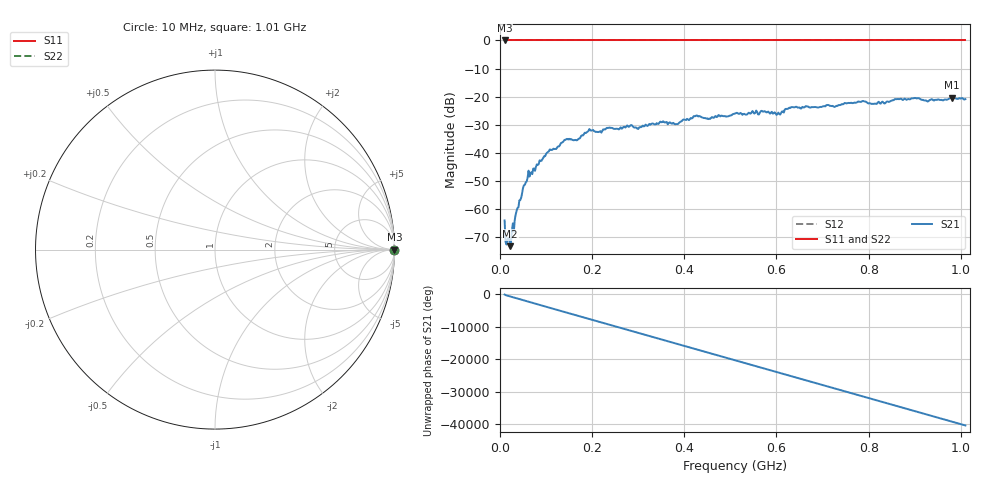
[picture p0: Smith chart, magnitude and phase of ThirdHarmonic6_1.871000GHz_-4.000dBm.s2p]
! 8/16/2025 10:36:44 PM
! C:\ANRITSUVNA\TEMP\TEMP.S2P
! CHANNEL.1
! TR.MEASUREMENT
! RAW.DATA
! RF.CORRECTION.OFF
! AVERAGING.OFF
! IF.BANDWIDTH: 5KHZ
! SWEEPTYPE:  FREQ.SWEEP(Linear)
! Reference Plane Port Info
! PORT:  PORT1  PORT2
! DISTANCE:  0  m  0  m
! TIME:  0  s  0  s
! PHASE.OFFSET:  0  deg.  0  deg.
! LOSS:  0  dB  0  dB
! REF.LOSS:  0  dB  0  dB
! REF.FREQ:  0  Hz  0  Hz
! Power Info
! POWER:  -20  dBm  -20  dBm
! EFF.POWER:  -20  dBm  -20  dBm
! SOURCE.ATTEN:  0  dB  0  dB
! TEST.ATTEN:  0  dB  0  dB
# GHZ S RI R 50.0
! FREQ.GHZ  S11RE  S11IM  S21RE  S21IM  S12RE  S12IM  S22RE  S22IM
!; PortSelection: Port_12
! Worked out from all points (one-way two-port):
!   501 points, 10 MHz to 1.01 GHz, reference 50 ohm
!   highest |S21| = -20.42 dB at 980 MHz (marker M1); lowest = -73.3 dB at 22 MHz (marker M2)
!   lowest |S11| = 0.0 dB at 10 MHz (marker M3)
!   |S11| at or under -10 dB: nowhere
!   |S22| runs from 0.0 to 0.0 dB; largest |S21 - S12| = 1.1
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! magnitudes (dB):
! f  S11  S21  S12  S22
! 10 MHz  0.0  -64.2  0.0  0.0
! 16 MHz  0.0  -71.1  0.0  0.0
! 22 MHz  0.0  -73.3  0.0  0.0
! 26 MHz  0.0  -67.6  0.0  0.0
! 46 MHz  0.0  -56.0  0.0  0.0
! 64 MHz  0.0  -48.5  0.0  0.0
! 106 MHz  0.0  -39.5  0.0  0.0
! 142 MHz  0.0  -35.4  0.0  0.0
! 178 MHz  0.0  -33.8  0.0  0.0
! 198 MHz  0.0  -32.1  0.0  0.0
! 300 MHz  0.0  -31.6  0.0  0.0
! 344 MHz  0.0  -29.8  0.0  0.0
! 384 MHz  0.0  -29.8  0.0  0.0
! 424 MHz  0.0  -27.0  0.0  0.0
! 452 MHz  0.0  -28.0  0.0  0.0
! 510 MHz  0.0  -26.1  0.0  0.0
! 604 MHz  0.0  -25.7  0.0  0.0
! 632 MHz  0.0  -23.8  0.0  0.0
! 678 MHz  0.0  -23.8  0.0  0.0
! 844 MHz  0.0  -21.9  0.0  0.0
! 980 MHz  0.0  -20.4  0.0  0.0
! 1.01 GHz  0.0  -20.9  0.0  0.0
